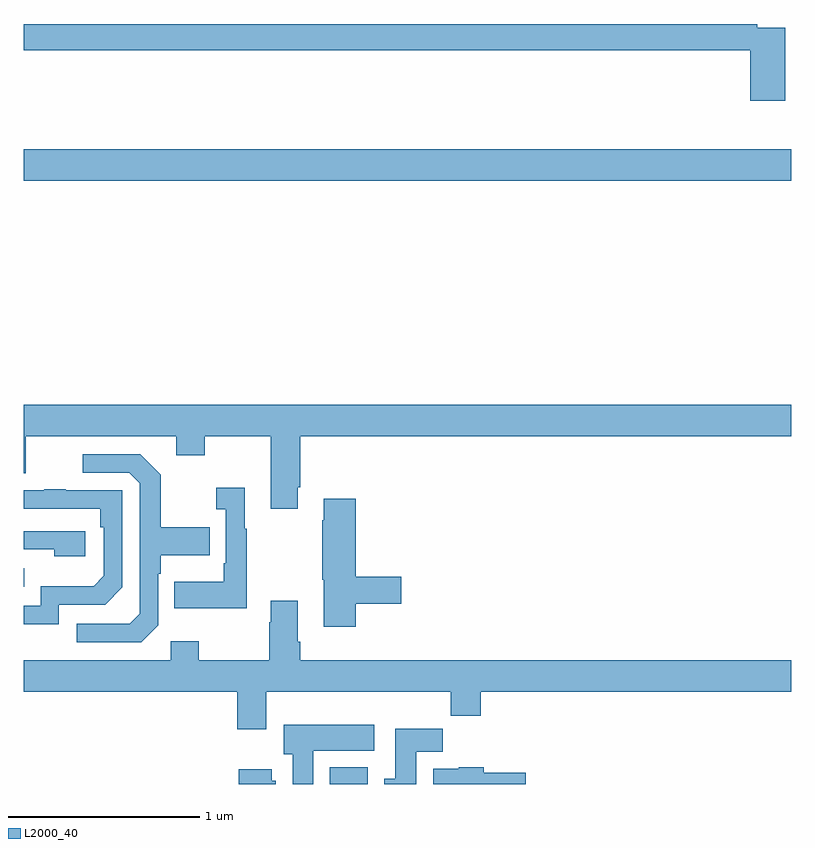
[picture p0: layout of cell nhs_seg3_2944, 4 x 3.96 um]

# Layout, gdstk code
import gdstk
lib = gdstk.Library(unit=1e-6, precision=1e-09)
def R(c, l, rs):  # rectangles x0, y0, x1, y1
    for r in rs: c.add(gdstk.rectangle(r[:2], r[2:], *l))
def P(c, l, *ps):  # polygons
    for p in ps: c.add(gdstk.Polygon(p, *l))
L2000_40 = (2000, 40)

nhs_seg3_2944 = lib.new_cell('nhs_seg3_2944')
R(nhs_seg3_2944, L2000_40, [(264.596,736.4,264.793,736.486), (263,737.427,263.003,737.523), (263,739.544,267,739.708)])
P(nhs_seg3_2944, L2000_40, [(266.969,740.34),(266.822,740.34),(266.822,740.36),(263,740.36),(263,740.224),(266.786,740.224),(266.786,739.959),(266.969,739.959)],
  [(264.427,737.947),(264.44,737.947),(264.44,738.212),(267,738.212),(267,738.376),(263,738.376),(263,738.018),(263.011,738.018),(263.011,738.212),(263.795,738.212),(263.795,738.113),(263.943,738.113),(263.943,738.212),(264.287,738.212),(264.287,737.835),(264.427,737.835)],
  [(263.7,737.226),(263.7,737.495),(263.713,737.495),(263.713,737.591),(263.969,737.591),(263.969,737.739),(263.713,737.739),(263.713,738.011),(263.607,738.117),(263.307,738.117),(263.307,738.021),(263.55,738.021),(263.604,737.967),(263.604,737.286),(263.553,737.235),(263.277,737.235),(263.277,737.139),(263.613,737.139)],
  [(264.163,737.731),(264.151,737.731),(264.151,737.944),(264.003,737.944),(264.003,737.831),(264.054,737.831),(264.054,737.551),(264.042,737.551),(264.042,737.455),(263.785,737.455),(263.785,737.315),(264.163,737.315)],
  [(263.184,737.334),(263.424,737.334),(263.514,737.424),(263.514,737.931),(263.219,737.931),(263.219,737.936),(263.107,737.936),(263.107,737.931),(263,737.931),(263,737.835),(263.398,737.835),(263.398,737.738),(263.418,737.738),(263.418,737.484),(263.365,737.431),(263.088,737.431),(263.088,737.328),(263,737.328),(263,737.232),(263.184,737.232)],
  [(264.731,737.338),(264.967,737.338),(264.967,737.48),(264.731,737.48),(264.731,737.887),(264.563,737.887),(264.563,737.774),(264.556,737.774),(264.556,737.463),(264.563,737.463),(264.563,737.22),(264.731,737.22)],
  [(263.32,737.718),(263,737.718),(263,737.622),(263.159,737.622),(263.159,737.588),(263.32,737.588)],
  [(264.265,736.88),(265.225,736.88),(265.225,736.756),(265.382,736.756),(265.382,736.88),(267,736.88),(267,737.044),(264.44,737.044),(264.44,737.14),(264.427,737.14),(264.427,737.356),(264.287,737.356),(264.287,737.243),(264.28,737.243),(264.28,737.044),(263.913,737.044),(263.913,737.143),(263.766,737.143),(263.766,737.044),(263,737.044),(263,736.88),(264.113,736.88),(264.113,736.686),(264.265,736.686)],
  [(264.508,736.574),(264.826,736.574),(264.826,736.708),(264.356,736.708),(264.356,736.554),(264.401,736.554),(264.401,736.4),(264.508,736.4)],
  [(265.045,736.568),(265.184,736.568),(265.184,736.687),(264.935,736.687),(264.935,736.428),(264.878,736.428),(264.878,736.4),(265.045,736.4)],
  [(265.615,736.458),(265.397,736.458),(265.397,736.486),(265.266,736.486),(265.266,736.48),(265.133,736.48),(265.133,736.4),(265.615,736.4)],
  [(264.313,736.416),(264.292,736.416),(264.292,736.477),(264.122,736.477),(264.122,736.4),(264.313,736.4)])

lib.write_gds('nhs_seg3_2944.gds')
